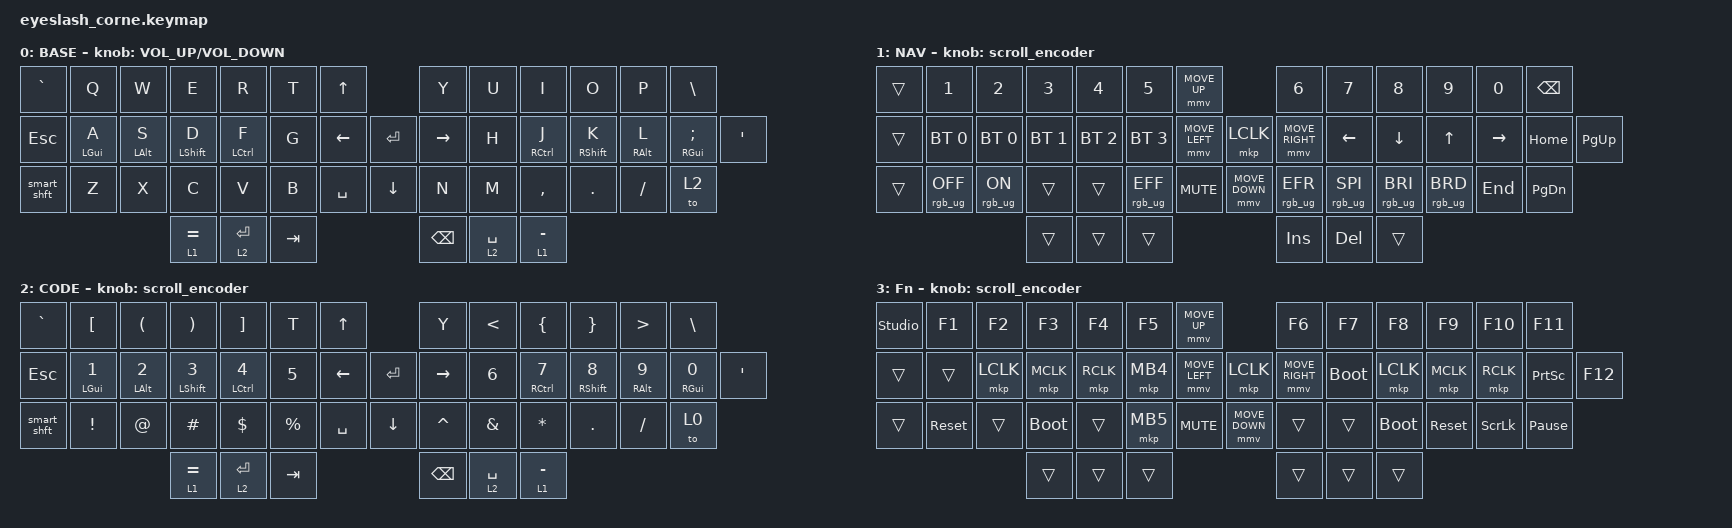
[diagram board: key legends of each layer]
#define ZMK_POINTING_DEFAULT_MOVE_VAL 1200  // 600
#define ZMK_POINTING_DEFAULT_SCRL_VAL 25   // 10

#include <input/processors.dtsi>
#include <zephyr/dt-bindings/input/input-event-codes.h>
#include <behaviors.dtsi>
#include <dt-bindings/zmk/bt.h>
#include <dt-bindings/zmk/keys.h>
#include <dt-bindings/zmk/pointing.h>
#include <dt-bindings/zmk/outputs.h>
#include <dt-bindings/zmk/rgb.h>

&mmv_input_listener { input-processors = <&zip_xy_scaler 2 1>; };

&msc_input_listener { input-processors = <&zip_scroll_scaler 2 1>; };

&msc {
    acceleration-exponent = <1>;      // 0
    time-to-max-speed-ms = <100>;       // 300
    delay-ms = <0>;                   // 0
};

&mmv {
    time-to-max-speed-ms = <500>;
    acceleration-exponent = <1>;
    trigger-period-ms = <16>;
};

&soft_off { hold-time-ms = <2000>; };

/ {
    behaviors {
        hml: home_row_mod_left {
            compatible = "zmk,behavior-hold-tap";
            #binding-cells = <2>;
            flavor = "balanced";
            require-prior-idle-ms = <150>;
            tapping-term-ms = <280>;
            quick-tap-ms = <175>;
            bindings = <&kp>, <&kp>;
            hold-trigger-key-positions = <7 8 9 10 11 12 22 23 24 25 26 27 35 36 37 38 39 40 41 45 46 47>;
            hold-trigger-on-release;
        };

        hmr: home_row_mod_right {
            compatible = "zmk,behavior-hold-tap";
            #binding-cells = <2>;
            flavor = "balanced";
            require-prior-idle-ms = <150>;
            tapping-term-ms = <280>;
            quick-tap-ms = <175>;
            bindings = <&kp>, <&kp>;
            hold-trigger-key-positions = <0 1 2 3 4 5 13 14 15 16 17 18 28 29 30 31 32 33 34 42 43 44>;
            hold-trigger-on-release;
        };

        hml_s: home_row_mod_left_shift {
            compatible = "zmk,behavior-hold-tap";
            #binding-cells = <2>;
            flavor = "balanced";
            require-prior-idle-ms = <100>;
            tapping-term-ms = <200>;
            quick-tap-ms = <175>;
            bindings = <&kp>, <&kp>;
            hold-trigger-key-positions = <7 8 9 10 11 12 22 23 24 25 26 27 35 36 37 38 39 40 41 45 46 47>;
            hold-trigger-on-release;
        };

        hmr_s: home_row_mod_right_shift {
            compatible = "zmk,behavior-hold-tap";
            #binding-cells = <2>;
            flavor = "balanced";
            require-prior-idle-ms = <100>;
            tapping-term-ms = <200>;
            quick-tap-ms = <175>;
            bindings = <&kp>, <&kp>;
            hold-trigger-key-positions = <0 1 2 3 4 5 13 14 15 16 17 18 28 29 30 31 32 33 34 42 43 44>;
            hold-trigger-on-release;
        };

        smart_shft: smart_shift {
            compatible = "zmk,behavior-mod-morph";
            #binding-cells = <0>;
            bindings = <&sk LSHIFT>, <&caps_word>;
            mods = <(MOD_LSFT|MOD_RSFT)>;
        };
    };

    rgb_encoder: rgb_encoder {
        compatible = "zmk,behavior-sensor-rotate";
        #sensor-binding-cells = <0>;
        bindings = <&rgb_ug RGB_BRI>, <&rgb_ug RGB_BRD>;
    };

    scroll_encoder: scroll_encoder {
        compatible = "zmk,behavior-sensor-rotate";
        #sensor-binding-cells = <0>;
        bindings = <&msc SCRL_DOWN>, <&msc SCRL_UP>;
        tap-ms = <100>;
    };

    combos {
        compatible = "zmk,combos";

        softoff {
            bindings = <&soft_off>;
            key-positions = <1 15 29>;
        };
    };

    keymap {
        compatible = "zmk,keymap";

        default_layer {
            display-name = "BASE";
            bindings = <
 &kp GRAVE   &kp Q       &kp W   &kp E    &kp R       &kp T &kp UP    &kp Y     &kp U     &kp I &kp O     &kp P   &kp BSLH
 &kp ESC     &hml LGUI A &hml LALT S &hml_s LSHIFT D &hml LCTRL F &kp G &kp LEFT  &kp ENTER &kp RIGHT &kp H &hmr RCTRL J &hmr_s RSHIFT K &hmr RALT L &hmr RGUI SEMI &kp SQT
 &smart_shft &kp Z       &kp X   &kp C    &kp V       &kp B &kp SPACE &kp DOWN  &kp N     &kp M &kp COMMA &kp DOT &kp FSLH    &to 2
 &lt 1 EQUAL &lt 2 ENTER &kp TAB &kp BSPC &lt 2 SPACE &lt 1 MINUS
            >;
            sensor-bindings = <&inc_dec_kp C_VOLUME_UP C_VOLUME_DOWN>;
        };

        lower_layer {
            display-name = "NAV";
            bindings = <
&trans  &kp N1           &kp N2          &kp N3        &kp N4        &kp N5                                        &mmv MOVE_UP                     &kp N6           &kp N7           &kp N8           &kp N9           &kp N0    &kp BSPC
&trans  &bt BT_SEL 0     &bt BT_SEL 0    &bt BT_SEL 1  &bt BT_SEL 2  &bt BT_SEL 3                           &mmv MOVE_LEFT  &mkp LCLK       &mmv MOVE_RIGHT  &kp LEFT         &kp DOWN         &kp UP           &kp RIGHT        &kp HOME  &kp PG_UP
&trans  &rgb_ug RGB_OFF  &rgb_ug RGB_ON  &trans        &trans        &rgb_ug RGB_EFF &kp C_MUTE                    &mmv MOVE_DOWN                   &rgb_ug RGB_EFR  &rgb_ug RGB_SPI  &rgb_ug RGB_BRI  &rgb_ug RGB_BRD  &kp END   &kp PG_DN
                                         &trans        &trans        &trans                                                                         &kp INS          &kp DEL          &trans
            >;
            sensor-bindings = <&scroll_encoder>;
        };

        raise_layer {
            display-name = "CODE";
            bindings = <
 &kp GRAVE   &kp LEFT_BRACKET &kp LEFT_PARENTHESIS &kp RIGHT_PARENTHESIS &kp RIGHT_BRACKET &kp T &kp UP    &kp Y     &kp LESS_THAN &kp LEFT_BRACE &kp RIGHT_BRACE &kp GREATER_THAN &kp BSLH
 &kp ESC     &hml LGUI N1     &hml LALT N2         &hml_s LSHIFT N3       &hml LCTRL N4    &kp N5 &kp LEFT  &kp ENTER &kp RIGHT     &kp N6    &hmr RCTRL N7 &hmr_s RSHIFT N8 &hmr RALT N9 &hmr RGUI N0 &kp SQT
 &smart_shft &kp EXCL         &kp AT               &kp HASH             &kp DOLLAR       &kp PERCENT &kp SPACE &kp DOWN  &kp CARET &kp AMPS &kp ASTERISK &kp DOT &kp FSLH &to 0
 &lt 1 EQUAL &lt 2 ENTER      &kp TAB              &kp BSPC             &lt 2 SPACE      &lt 1 MINUS
            >;
            sensor-bindings = <&scroll_encoder>;
        };

        layer_3 {
            display-name = "Fn";
            bindings = <
&studio_unlock   &kp F1      &kp F2      &kp F3       &kp F4     &kp F5                                  &mmv MOVE_UP                     &kp F6       &kp F7     &kp F8       &kp F9      &kp F10          &kp F11
&trans  &trans      &mkp LCLK   &mkp MCLK    &mkp RCLK  &mkp MB4                &mmv MOVE_LEFT  &mkp LCLK       &mmv MOVE_RIGHT  &bootloader  &mkp LCLK  &mkp MCLK    &mkp RCLK   &kp PRINTSCREEN  &kp F12
&trans  &sys_reset  &trans      &bootloader  &trans     &mkp MB5  &kp C_MUTE                    &mmv MOVE_DOWN                   &trans       &trans     &bootloader  &sys_reset  &kp SCROLLLOCK   &kp PAUSE_BREAK
                                &trans      &trans      &trans                                                                   &trans       &trans     &trans
            >;
            sensor-bindings = <&scroll_encoder>;
        };
    };
};
